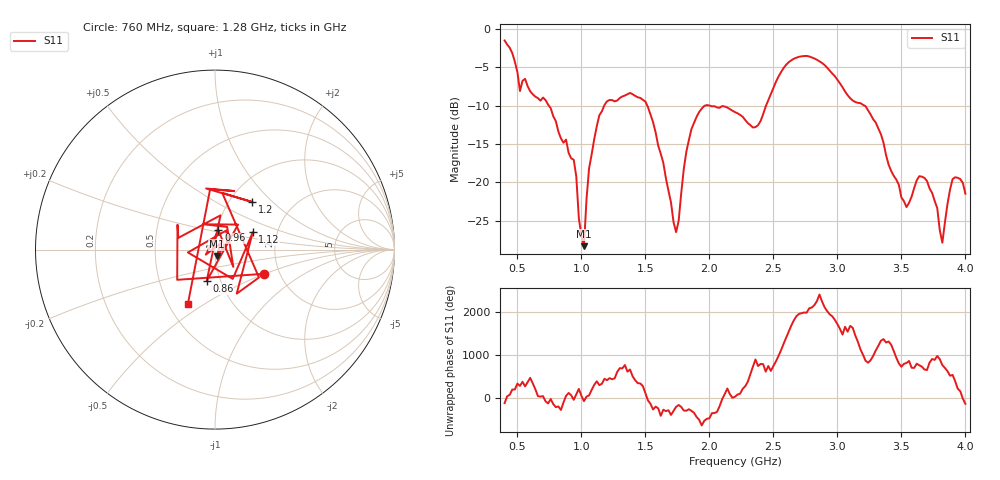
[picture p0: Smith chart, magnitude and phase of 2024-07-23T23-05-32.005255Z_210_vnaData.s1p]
!Created with skrf (http://scikit-rf.org).
# Hz S RI R 50.0
!freq ReS11 ImS11
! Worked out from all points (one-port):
!   181 points, 400 MHz to 4 GHz, reference 50 ohm
!   lowest |S11| = -28.3 dB at 1.02 GHz (marker M1), VSWR 1.08, Z = 50.9 - j3.76 ohm
!   |S11| at or under -10 dB: 1.515 GHz to 1.967 GHz (452.2 MHz wide, 26 % of centre); 2.002 GHz to 2.443 GHz (440.1 MHz wide, 19.8 % of centre); 3.212 GHz to end of sweep (the widest 3 of 4)
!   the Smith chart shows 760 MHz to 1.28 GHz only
!   S11 on the Smith chart (normalised r, x): 760 MHz: 1.66, -0.49; 860 MHz: 0.86, -0.31; 960 MHz: 1.01, +0.22; 1.12 GHz: 1.50, +0.30; 1.2 GHz: 1.27, +0.76; 1.28 GHz: 0.62, -0.43
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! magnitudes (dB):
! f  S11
! 400 MHz  -1.5
! 520 MHz  -8.1
! 760 MHz  -10.3
! 860 MHz  -14.8
! 960 MHz  -19.2
! 980 MHz  -24.7
! 1.02 GHz  -28.3
! 1.06 GHz  -18.2
! 1.12 GHz  -12.7
! 1.2 GHz  -9.4
! 1.28 GHz  -9.3
! 1.3 GHz  -9.0
! 1.5 GHz  -9.5
! 1.74 GHz  -26.5
! 1.76 GHz  -25.0
! 1.82 GHz  -16.0
! 1.9 GHz  -11.5
! 2.2 GHz  -10.9
! 2.38 GHz  -12.6
! 2.66 GHz  -3.9
! 3.1 GHz  -9.0
! 3.3 GHz  -12.2
! 3.56 GHz  -22.7
! 3.68 GHz  -19.4
! 3.78 GHz  -23.4
! 3.82 GHz  -27.9
! 3.9 GHz  -19.6
! 4 GHz  -21.5
